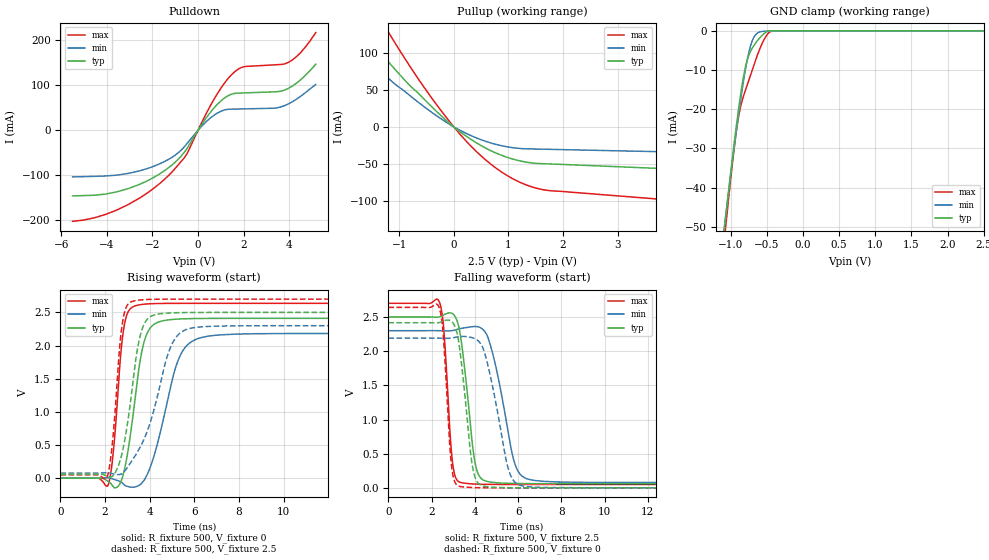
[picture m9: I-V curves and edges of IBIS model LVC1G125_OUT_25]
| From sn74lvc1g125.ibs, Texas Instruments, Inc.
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[Model]   LVC1G125_OUT_25
Model_type  3-state
Enable   Active-Low
Vref =   0
Rref =   500
Cref =   30p
Vmeas =   1.25
| variable   typ   min   max
C_comp   5.97pF   5.10pF   6.99pF
| C_pullup   10.29pF   6.16pF   12.63pF
| C_pulldown   9.79pF   6.34pF   13.82pF
| C_tri-state   5.97pF   5.10pF   6.99pF
[Temperature Range]   40   100   -40
| Ambient temperature   25   85   -40
[Voltage range]   2.5   2.3   2.7
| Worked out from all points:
|   slope of the pulldown table from 0 to 0.375 V, typ, clamps not added: 13.1 ohm
|   slope of the pullup table from 0 to 0.375 V, typ, clamps not added: 19.1 ohm
|   GND clamp passes 1 mA (typ) near -0.56 V on its own axis
|   rising waveform, R_fixture 500, V_fixture 0: 20-80 % time 599ps typ, 962ps min, 371ps max; typ from 0 V to 2.41 V
|   falling waveform, R_fixture 500, V_fixture 2.5: 20-80 % time 494ps typ, 800ps min, 307ps max; typ from 2.5 V to 0.06 V
|   rising waveform, R_fixture 500, V_fixture 2.5: 20-80 % time 618ps typ, 1.15ns min, 368ps max; typ from 0.06 V to 2.5 V
|   falling waveform, R_fixture 500, V_fixture 0: 20-80 % time 474ps typ, 792ps min, 296ps max; typ from 2.42 V to 0 V
[GND Clamp]
| LVC1G125_OUT_25
|   Voltage   I(typ)   I(min)   I(max)
-5.5V     -919.3mA   -858.8mA   -997.3mA
-1.105V   -53.41mA   -52.67mA   -56.49mA
-1.075V   -48.37mA   -48mA      -50.98mA
-1.05V    -44.23mA   -44.16mA   -46.47mA
-915mV    -23.21mA   -24.47mA   -24.73mA
-870mV    -17.09mA   -18.49mA   -19.88mA
-820mV    -11.37mA   -12.41mA   -16.45mA
-720mV    -5.02mA    -3.477mA   -11.01mA
-625mV    -2.377mA   -494uA     -5.894mA
-510mV    -327.6uA   -92.78uA   -1.344mA
-425mV    -5.151uA   -35.58uA   -16.05uA
2.5V      22.51pA    62.63nA    611.4pA
[Pulldown]
| LVC1G125_OUT_25
|   Voltage   I(typ)   I(min)   I(max)
-5.5V     -145.5mA   -103.3mA   -201.8mA
-3.565V   -136.6mA   -99.45mA   -176.9mA
-1.895V   -103.2mA   -78.88mA   -126.8mA
-1.15V    -77.32mA   -60.11mA   -92.99mA
-535mV    -44.27mA   -32.63mA   -56.3mA
585mV     42.58mA    29.14mA    58.47mA
1.455V    79.8mA     46.83mA    122.4mA
1.995V    82.86mA    47.44mA    140.8mA
3.425V    85.39mA    49.49mA    145.3mA
3.965V    93.01mA    58.52mA    150.6mA
4.55V     114.2mA    77.18mA    175.1mA
5.165V    146.4mA    101.6mA    216.7mA
[Pullup]
| LVC1G125_OUT_25
|   Voltage   I(typ)   I(min)   I(max)
-5.5V     521.5mA    406.6mA    732.1mA
-2.245V   182.5mA    139.3mA    261.4mA
-2.145V   172.9mA    131.8mA    248mA
-1.77V    137.8mA    104.3mA    198.7mA
-1.29V    95.17mA    71.2mA     138.3mA
-1.19V    86.67mA    64.66mA    126.2mA
-385mV    25.61mA    18.53mA    36.69mA
280mV     -15.16mA   -10.57mA   -23.27mA
910mV     -39.14mA   -25.81mA   -62.27mA
1.57V     -49.22mA   -29.81mA   -83.34mA
7.68V     -67.59mA   -39.5mA    -119.9mA
11V       -77.69mA   -44.77mA   -139.4mA
[Ramp]
| LVC1G125_OUT_25
| variable   typ   min   max
dV/dt_r   1.53/6.40E-10   1.39/1.03E-09   1.65/3.95E-10
dV/dt_f   1.50/5.14E-10   1.37/8.32E-10   1.63/3.19E-10
R_load = 500
[Rising Waveform]
| LVC1G125_OUT_25
R_fixture =   500
C_fixture =   0
L_fixture =   0
V_fixture =   0
V_fixture_min = 0
V_fixture_max = 0
|   Time   V(typ)   V(min)   V(max)
0s        123.6pV    5.747nV    2.756nV
2.13ns    -44.87mV   4.949mV    -107.9mV
2.355ns   -122mV     -12.73mV   345.8mV
2.695ns   -64.85mV   -54.05mV   1.835V
2.865ns   123.5mV    -103.7mV   2.311V
3.595ns   1.816V     -90.38mV   2.617V
4.1ns     2.294V     234.6mV    2.631V
5.345ns   2.401V     1.832V     2.636V
6.65ns    2.409V     2.143V     2.637V
50ns      2.41V      2.183V     2.637V
[Falling Waveform]
| LVC1G125_OUT_25
R_fixture =   500
C_fixture =   0
L_fixture =   0
V_fixture =   2.5
V_fixture_min = 2.3
V_fixture_max = 2.7
|   Time   V(typ)   V(min)   V(max)
0s        2.5V       2.3V       2.7V
2.36ns    2.502V     2.299V     2.718V
2.555ns   2.531V     2.296V     2.353V
2.97ns    2.549V     2.301V     363.2mV
3.41ns    2.058V     2.335V     73.73mV
4.19ns    180.2mV    2.353V     53.64mV
4.835ns   80.59mV    1.953V     50.6mV
5.875ns   64.2mV     329.9mV    49.61mV
6.715ns   61.54mV    110.1mV    49.47mV
50ns      60.09mV    77.08mV    49.33mV
[Rising Waveform]
| LVC1G125_OUT_25
R_fixture =   500
C_fixture =   0
L_fixture =   0
V_fixture =   2.5
V_fixture_min = 2.3
V_fixture_max = 2.7
|   Time   V(typ)   V(min)   V(max)
0s        60.06mV    77.04mV    49.31mV
2.09ns    30.92mV    81.91mV    20.52mV
2.325ns   26.79mV    68.47mV    518.2mV
2.655ns   244mV      55.5mV     1.98V
2.795ns   424.7mV    75.67mV    2.378V
3.41ns    1.862V     371.4mV    2.681V
3.885ns   2.394V     702.5mV    2.695V
4.99ns    2.493V     2.015V     2.7V
6.085ns   2.499V     2.275V     2.7V
50ns      2.5V       2.3V       2.7V
[Falling Waveform]
| LVC1G125_OUT_25
R_fixture =   500
C_fixture =   0
L_fixture =   0
V_fixture =   0
V_fixture_min = 0
V_fixture_max = 0
|   Time   V(typ)   V(min)   V(max)
0s        2.416V     2.191V     2.64V
2.335ns   2.417V     2.191V     2.648V
2.525ns   2.44V      2.188V     2.289V
2.92ns    2.436V     2.192V     331.4mV
3.305ns   2.02V      2.214V     20.24mV
4.07ns    109.5mV    2.171V     3.415mV
4.585ns   16.48mV    1.818V     1.184mV
5.585ns   2.59mV     239.8mV    266.1uV
6.31ns    915.2uV    22.21mV    150.3uV
50ns      24.27uV    36.38uV    15.63uV
